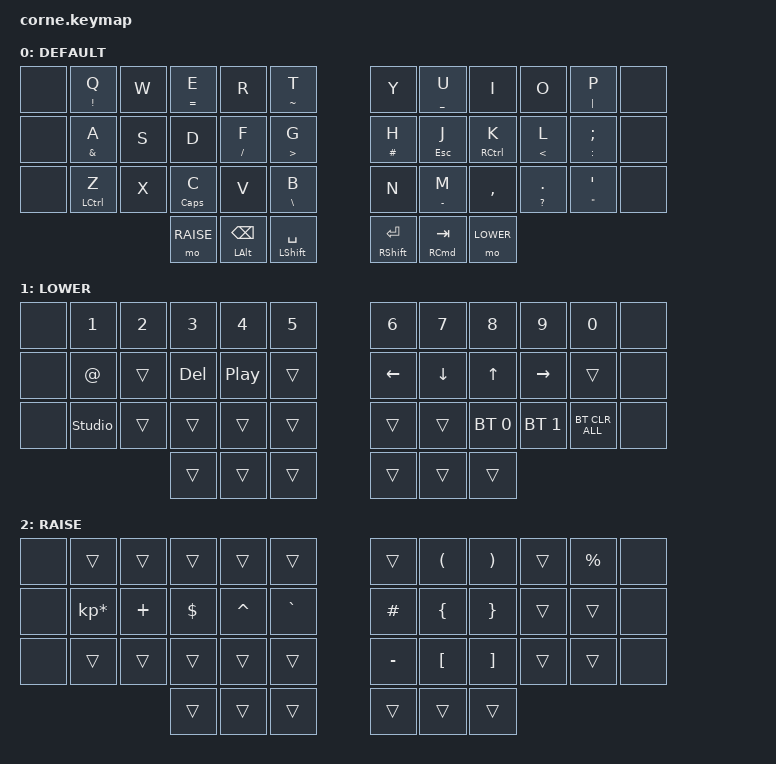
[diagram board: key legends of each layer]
#include <behaviors.dtsi>
#include <dt-bindings/zmk/keys.h>
#include <dt-bindings/zmk/bt.h>
// #include <dt-bindings/zmk/rgb.h>

#define DEFAULT 0
#define LOWER 1
#define RAISE 2

&mt {
  tapping-term-ms = <200>;
  flavor = "tap-preferred";      
};

/ {
        keymap {
                compatible = "zmk,keymap";

                DEFAULT {
                        bindings = <
&none   &mt EXCL Q  &kp W &mt EQUAL E &kp R      &mt TILDE T      &kp Y      &mt UNDER U  &kp I       &kp O         &mt PIPE P      &none 
&none   &mt AMPS A  &kp S &kp D       &mt FSLH F &mt GT G         &mt HASH H &mt ESC J    &mt RCTRL K &mt LT L      &mt COLON SEMI  &none
&none   &mt LCTRL Z &kp X &mt CAPS C  &kp V      &mt BSLH B       &kp N      &mt MINUS M  &kp COMMA   &mt QMARK DOT &mt DQT SQT     &none
               &mo RAISE &mt LALT BSPC &mt LSHIFT SPACE             &mt RSHIFT RET &mt RCMD TAB &mo LOWER
                        >;
                };
                LOWER {
                        bindings = <
&none   &kp N1 &kp N2 &kp N3  &kp N4 &kp N5   &kp N6   &kp N7   &kp N8       &kp N9       &kp N0         &none
&none   &kp AT &trans &kp DEL &kp C_PP &trans   &kp LEFT &kp DOWN &kp UP       &kp RIGHT    &trans         &none
&none   &studio_unlock &trans &trans  &trans &trans   &trans   &trans   &bt BT_SEL 0 &bt BT_SEL 1 &bt BT_CLR_ALL &none
                     &trans &trans &trans       &trans  &trans   &trans
                        >;
                };
                RAISE {
                        bindings = <
&none   &trans          &trans   &trans   &trans  &trans      &trans    &kp LPAR &kp RPAR  &trans &kp PRCNT &none 
&none   &kp KP_MULTIPLY &kp PLUS &kp DLLR &kp CARET &kp GRAVE   &kp HASH  &kp LBRC &kp RBRC  &trans &trans    &none
&none   &trans          &trans   &trans   &trans  &trans      &kp MINUS &kp LBKT &kp RBKT  &trans &trans    &none
                               &trans &trans &trans              &trans   &trans    &trans
                        >;
                };
        };
};
